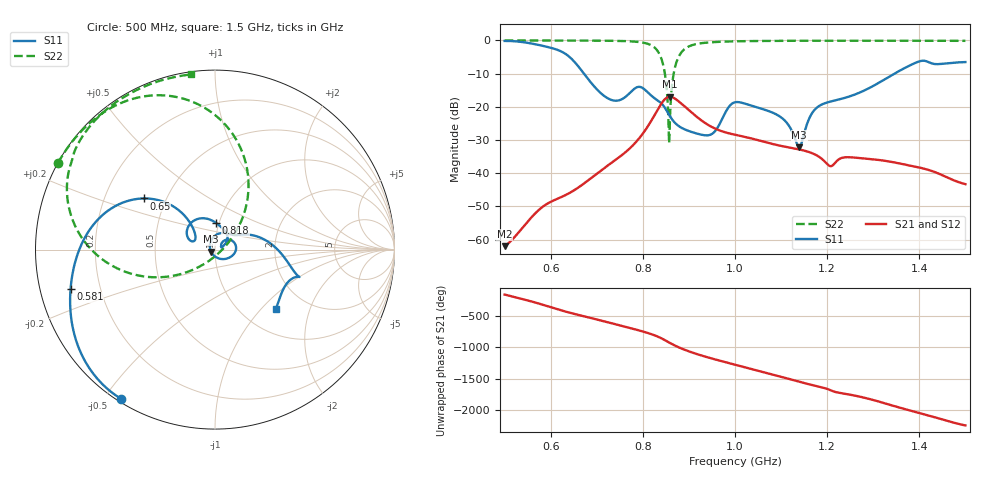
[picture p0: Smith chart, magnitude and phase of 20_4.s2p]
! TOUCHSTONE file generated by CST MICROWAVE STUDIO
! Date and time: Wed Oct 28 19:17:16 2020
! Project name: Scenario_1_Circular_Tissue_out_of_Line.cst
! Parameters = {dy1=-16.521; L_HA=400; MT=2.54; Rad_Dielectric=30; Rad_Lower=7.3; Rad_Upper=30; a_HA=580; a_WG=246; b_HA=500; b_WG=121; c_HA=0; c_WG=187; d_feed=85; dx1=693; h_feed=15; h_lower=18; h_upper=40}
! Header version: 2018
! Port assignment regex: !\s*Touchstone port\s*([0-9]+)\s*=\s*(CST MWS port|CST DS port)\s*([0-9]+|Zmin|Zmax)\s*\(\"(.*)\"\)(\s*mode\s*([0-9]+))?.*
! Touchstone port assignment:
! Touchstone port 1 = CST MWS port 1 ("")
! Touchstone port 2 = CST MWS port 2 ("")
# GHz S DB R 50
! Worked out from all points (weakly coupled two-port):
!   1001 points, 500 MHz to 1.5 GHz, reference 50 ohm
!   highest |S21| = -16.97 dB at 859 MHz (marker M1); lowest = -61.9 dB at 500 MHz (marker M2)
!   lowest |S11| = -32.2 dB at 1.139 GHz (marker M3), VSWR 1.05, Z = 47.8 - j1.07 ohm
!   |S11| at or under -10 dB: 672.2 MHz to 1.346 GHz (673.9 MHz wide, 66.8 % of centre)
!   |S22| runs from -30.9 to 0.0 dB; largest |S21 - S12| = 3.8e-06
!   S11 on the Smith chart (normalised r, x): 500 MHz: 0.01, -0.55; 581 MHz: 0.09, -0.13; 650 MHz: 0.37, +0.28; 818 MHz: 0.97, +0.29; 1.5 GHz: 1.42, -1.21
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0.5  -0.16 -122.3  -61.95 -166.4  -61.95 -166.4  -0.01 151.1
0.581  -1.57 -164.7  -50.26 35.9  -50.26 35.9  -0.02 145.5
0.65  -6.21 144.4  -45.19 -110.3  -45.19 -110.3  -0.03 139.9
0.667  -9.06 134.8  -43.61 -141.6  -43.61 -141.6  -0.04 138.3
0.731  -17.88 148.3  -36.95 101.7  -36.95 101.7  -0.11 130.6
0.79  -13.99 133.1  -29.81 -10.6  -29.81 -10.6  -0.46 116.6
0.818  -16.58 87.6  -24.25 -72.0  -24.25 -72.0  -1.44 100.4
0.834  -18.24 66.8  -20.41 -117.4  -20.41 -117.4  -3.61 82.0
0.847  -20.09 45.4  -17.80 -164.6  -17.80 -164.6  -9.32 57.8
0.854  -21.69 36.0  -17.09 167.0  -17.09 167.0  -19.05 34.0
0.859  -22.85 31.7  -16.97 146.7  -16.97 146.7  -22.97 -118.2
0.87  -24.85 26.8  -17.55 105.0  -17.55 105.0  -7.96 -157.6
0.887  -26.53 22.1  -19.43 50.5  -19.43 50.5  -3.06 178.8
0.948  -28.31 30.5  -25.93 -95.2  -25.93 -95.2  -0.58 149.0
1  -18.62 13.6  -28.40 163.4  -28.40 163.4  -0.27 140.1
1.097  -22.87 -47.3  -31.67 -21.4  -31.67 -21.4  -0.13 129.9
1.139  -32.18 -152.9  -32.81 -105.2  -32.81 -105.2  -0.10 126.3
1.167  -21.95 87.6  -33.94 -158.2  -33.94 -158.2  -0.09 124.1
1.207  -18.41 45.9  -37.87 120.4  -37.87 120.4  -0.09 121.0
1.334  -10.98 11.2  -36.43 -106.8  -36.43 -106.9  -0.09 111.4
1.407  -6.11 -18.0  -38.50 105.6  -38.50 105.6  -0.10 105.7
1.5  -6.52 -44.1  -43.27 -78.2  -43.27 -78.2  -0.13 97.8
